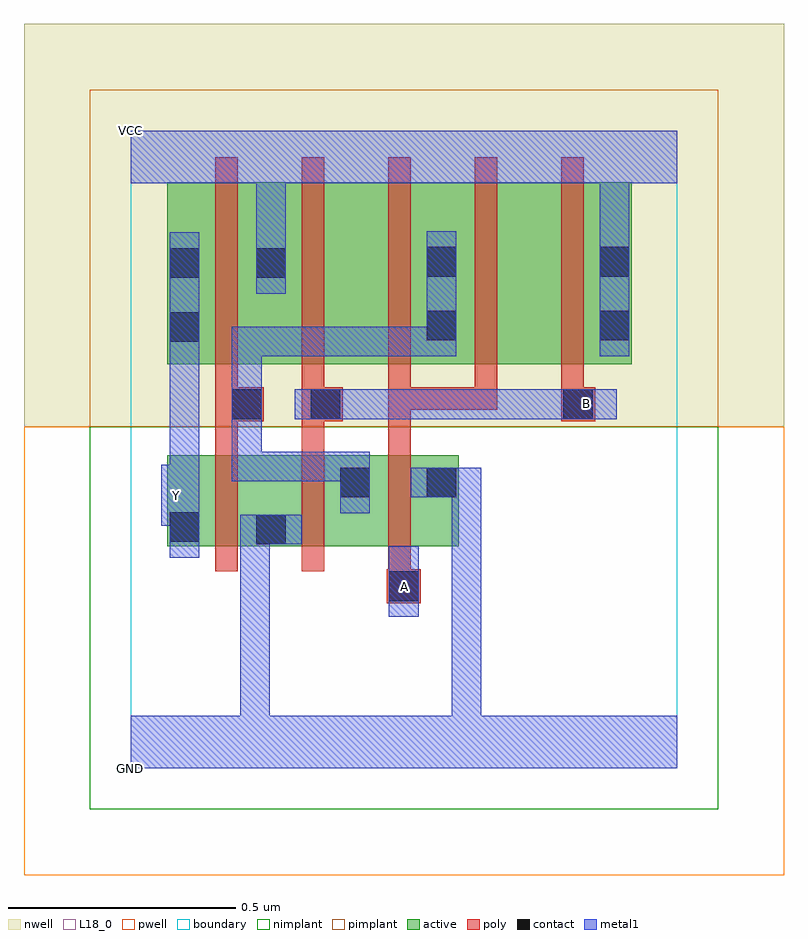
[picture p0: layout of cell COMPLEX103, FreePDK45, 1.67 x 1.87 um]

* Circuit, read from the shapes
.subckt COMPLEX103 A B GND VCC Y
M1 GND n1 Y VSUBS nfet w=0.2u l=0.05u
M2 n1 B GND VSUBS nfet w=0.2u l=0.05u
M3 GND A n1 VSUBS nfet w=0.2u l=0.05u
M4 VCC n1 Y n2 pfet w=0.4u l=0.05u
M5 n3 B VCC n2 pfet w=0.4u l=0.05u
M6 n1 A n3 n2 pfet w=0.4u l=0.05u
M7 n4 A n1 n2 pfet w=0.4u l=0.05u
M8 VCC B n4 n2 pfet w=0.4u l=0.05u
.ends

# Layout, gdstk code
import gdstk
lib = gdstk.Library(unit=1e-6, precision=1e-09)
def R(c, l, rs):  # rectangles x0, y0, x1, y1
    for r in rs: c.add(gdstk.rectangle(r[:2], r[2:], *l))
def A(c, l, x, y, w, h, nx, ny, dx, dy):  # array of equal rectangles
    R(c, l, [(x+i*dx, y+j*dy, x+i*dx+w, y+j*dy+h) for i in range(nx) for j in range(ny)])
active = (1, 0)
pwell = (2, 0)
nwell = (3, 0)
nimplant = (4, 0)
pimplant = (5, 0)
poly = (9, 0)
contact = (10, 0)
metal1 = (11, 0)
L18_0 = (18, 0)
boundary = (235, 0)

complex103 = lib.new_cell('COMPLEX103')
R(complex103, active, [(0.08,0.487,0.345,0.687), (0.27,0.487,0.53,0.687), (0.27,0.487,0.345,0.597), (0.455,0.487,0.53,0.687), (0.455,0.487,0.72,0.687), (0.645,0.487,0.72,0.687), (0.08,0.492,0.155,0.687), (0.08,0.887,0.345,1.287), (0.08,0.887,0.155,1.2), (0.27,0.887,0.495,1.287), (0.495,0.887,0.72,1.287), (0.645,0.887,0.875,1.287), (0.875,0.887,1.1,1.287), (1.025,0.887,1.1,1.205), (0.27,0.907,0.345,1.205), (0.645,0.907,0.72,1.2)])
R(complex103, pwell, [(-0.235,-0.235,1.435,0.75)])
R(complex103, nwell, [(-0.235,0.75,1.435,1.635)])
R(complex103, nimplant, [(-0.09,-0.09,1.29,0.75)])
R(complex103, pimplant, [(-0.09,0.75,1.29,1.49)])
A(complex103, poly, 0.185, 0.432, 0.05, 0.31, 3, 1, 0.19, 0)
A(complex103, poly, 0.185, 0.787, 0.05, 0.095, 5, 1, 0.19, 0)
A(complex103, poly, 0.185, 0.832, 0.05, 0.51, 5, 1, 0.19, 0)
R(complex103, poly, [(0.562,0.362,0.637,0.437), (0.565,0.387,0.615,0.482), (0.185,0.692,0.235,0.812), (0.375,0.692,0.425,0.812), (0.565,0.692,0.615,0.837), (0.185,0.762,0.292,0.837), (0.375,0.762,0.465,0.837), (0.945,0.762,1.02,0.837), (0.565,0.787,0.805,0.837), (0.565,0.787,0.615,0.837), (0.565,0.787,0.615,0.837), (0.565,0.787,0.615,0.837), (0.755,0.787,0.805,0.837)])
R(complex103, contact, [(0.567,0.367,0.632,0.432), (0.275,0.492,0.34,0.557), (0.085,0.497,0.15,0.562), (0.46,0.595,0.525,0.66), (0.65,0.595,0.715,0.66), (0.222,0.767,0.287,0.832), (0.395,0.767,0.46,0.832), (0.95,0.767,1.015,0.832), (0.085,0.937,0.15,1.002), (0.65,0.94,0.715,1.005), (1.03,0.94,1.095,1.005), (0.085,1.077,0.15,1.142), (0.275,1.077,0.34,1.142), (0.65,1.08,0.715,1.145), (1.03,1.08,1.095,1.145)])
R(complex103, metal1, [(0,0,1.2,0.115), (0.24,0.05,0.305,0.115), (0.24,0.05,0.305,0.115), (0.24,0.05,0.305,0.115), (0.24,0.05,0.305,0.115), (0.24,0.05,0.305,0.115), (0.24,0.05,0.305,0.115), (0.24,0.05,0.305,0.557), (0.705,0.05,0.77,0.66), (0.567,0.332,0.632,0.487), (0.085,0.462,0.15,0.597), (0.24,0.492,0.375,0.557), (0.067,0.532,0.15,0.667), (0.085,0.532,0.15,0.597), (0.46,0.56,0.525,0.695), (0.615,0.595,0.77,0.66), (0.705,0.595,0.77,0.66), (0.705,0.595,0.77,0.66), (0.705,0.595,0.77,0.66), (0.705,0.595,0.77,0.66), (0.705,0.595,0.77,0.66), (0.705,0.595,0.77,0.66), (0.085,0.602,0.15,0.967), (0.222,0.63,0.287,0.695), (0.222,0.63,0.495,0.695), (0.222,0.63,0.287,0.797), (0.43,0.63,0.495,0.695), (0.43,0.63,0.525,0.695), (0.222,0.732,0.287,0.797), (0.222,0.732,0.287,0.797), (0.222,0.732,0.287,0.867), (0.222,0.732,0.287,0.97), (0.36,0.767,0.495,0.832), (0.43,0.767,0.495,0.832), (0.43,0.767,0.495,0.832), (0.43,0.767,0.632,0.832), (0.567,0.767,0.632,0.832), (0.567,0.767,0.632,0.832), (0.567,0.767,0.632,0.832), (0.567,0.767,0.842,0.832), (0.777,0.767,0.98,0.832), (0.777,0.767,0.842,0.832), (0.777,0.767,0.842,0.832), (0.777,0.767,0.842,0.832), (0.915,0.767,1.067,0.832), (0.085,0.902,0.15,1.177), (0.222,0.905,0.287,0.97), (0.222,0.905,0.495,0.97), (0.43,0.905,0.495,0.97), (0.43,0.905,0.495,0.97), (0.43,0.905,0.495,0.97), (0.43,0.905,0.7,0.97), (0.635,0.905,0.7,0.97), (0.635,0.905,0.715,0.97), (0.65,0.905,0.715,1.18), (1.03,0.905,1.095,1.18), (0.275,1.042,0.34,1.177), (0.275,1.112,0.34,1.35), (1.03,1.115,1.095,1.35), (0,1.285,1.2,1.4)])
R(complex103, L18_0, [(0,0,1.2,0.115), (0.24,0.05,0.305,0.115), (0.24,0.05,0.305,0.115), (0.24,0.05,0.305,0.115), (0.24,0.05,0.305,0.115), (0.24,0.05,0.305,0.115), (0.24,0.05,0.305,0.115), (0.24,0.05,0.305,0.557), (0.705,0.05,0.77,0.66), (0.567,0.332,0.632,0.487), (0.567,0.367,0.632,0.432), (0.085,0.462,0.15,0.597), (0.24,0.492,0.375,0.557), (0.067,0.532,0.15,0.667), (0.085,0.532,0.15,0.597), (0.067,0.567,0.132,0.632), (0.615,0.595,0.77,0.66), (0.705,0.595,0.77,0.66), (0.705,0.595,0.77,0.66), (0.705,0.595,0.77,0.66), (0.705,0.595,0.77,0.66), (0.705,0.595,0.77,0.66), (0.705,0.595,0.77,0.66), (0.085,0.602,0.15,0.967), (0.36,0.767,0.495,0.832), (0.43,0.767,0.495,0.832), (0.43,0.767,0.495,0.832), (0.43,0.767,0.632,0.832), (0.567,0.767,0.632,0.832), (0.567,0.767,0.632,0.832), (0.567,0.767,0.632,0.832), (0.567,0.767,0.842,0.832), (0.777,0.767,0.842,0.832), (0.777,0.767,0.842,0.832), (0.777,0.767,0.842,0.832), (0.777,0.767,0.98,0.832), (0.915,0.767,1.067,0.832), (0.967,0.767,1.032,0.832), (0.085,0.902,0.15,1.177), (1.03,0.905,1.095,1.18), (0.275,1.042,0.34,1.177), (0.275,1.112,0.34,1.35), (1.03,1.115,1.095,1.35), (0,1.285,1.2,1.4)])
R(complex103, boundary, [(0,0,1.2,1.4)])
complex103.add(gdstk.Label('A', (0.6,0.4), layer=11, texttype=0))
complex103.add(gdstk.Label('B', (1,0.8), layer=11, texttype=0))
complex103.add(gdstk.Label('Y', (0.1,0.6), layer=11, texttype=0))
complex103.add(gdstk.Label('VCC', (0,1.4), layer=11, texttype=0))
complex103.add(gdstk.Label('GND', (0,0), layer=11, texttype=0))

lib.write_gds('COMPLEX103.gds')
